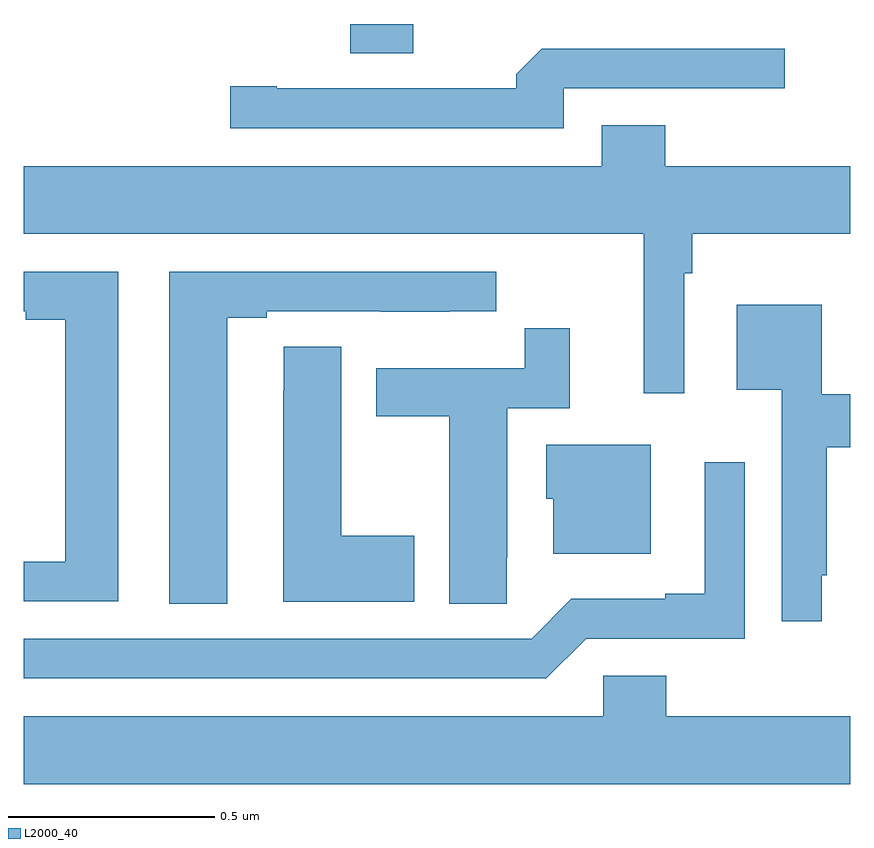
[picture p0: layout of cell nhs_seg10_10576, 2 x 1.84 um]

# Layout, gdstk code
import gdstk
lib = gdstk.Library(unit=1e-6, precision=1e-09)
def R(c, l, rs):  # rectangles x0, y0, x1, y1
    for r in rs: c.add(gdstk.rectangle(r[:2], r[2:], *l))
def P(c, l, *ps):  # polygons
    for p in ps: c.add(gdstk.Polygon(p, *l))
L2000_40 = (2000, 40)

nhs_seg10_10576 = lib.new_cell('nhs_seg10_10576')
R(nhs_seg10_10576, L2000_40, [(244.79,1291.429,244.942,1291.5)])
P(nhs_seg10_10576, L2000_40, [(245.307,1291.344),(245.842,1291.344),(245.842,1291.44),(245.253,1291.44),(245.192,1291.378),(245.192,1291.344),(244.612,1291.344),(244.612,1291.349),(244.5,1291.349),(244.5,1291.248),(245.307,1291.248)],
  [(245.598,1290.896),(245.618,1290.896),(245.618,1290.992),(246,1290.992),(246,1291.156),(245.552,1291.156),(245.552,1291.255),(245.399,1291.255),(245.399,1291.156),(244,1291.156),(244,1290.992),(245.501,1290.992),(245.501,1290.606),(245.598,1290.606)],
  [(244.492,1290.789),(244.588,1290.789),(244.588,1290.804),(244.864,1290.804),(244.864,1290.803),(245.03,1290.803),(245.03,1290.804),(245.143,1290.804),(245.143,1290.9),(244.352,1290.9),(244.352,1290.097),(244.492,1290.097)],
  [(244.228,1290.9),(244,1290.9),(244,1290.804),(244.004,1290.804),(244.004,1290.784),(244.1,1290.784),(244.1,1290.198),(244,1290.198),(244,1290.102),(244.228,1290.102)],
  [(245.932,1290.166),(245.944,1290.166),(245.944,1290.475),(246,1290.475),(246,1290.604),(245.932,1290.604),(245.932,1290.82),(245.726,1290.82),(245.726,1290.614),(245.835,1290.614),(245.835,1290.054),(245.932,1290.054)],
  [(245.169,1290.208),(245.17,1290.208),(245.17,1290.57),(245.321,1290.57),(245.321,1290.763),(245.212,1290.763),(245.212,1290.666),(244.853,1290.666),(244.853,1290.55),(245.03,1290.55),(245.03,1290.097),(245.169,1290.097)],
  [(244.945,1290.261),(244.768,1290.261),(244.768,1290.719),(244.629,1290.719),(244.629,1290.611),(244.628,1290.611),(244.628,1290.101),(244.945,1290.101)],
  [(245.518,1290.481),(245.264,1290.481),(245.264,1290.351),(245.282,1290.351),(245.282,1290.218),(245.518,1290.218)],
  [(245.361,1290.012),(245.745,1290.012),(245.745,1290.439),(245.648,1290.439),(245.648,1290.121),(245.552,1290.121),(245.552,1290.108),(245.325,1290.108),(245.229,1290.012),(244,1290.012),(244,1289.916),(245.265,1289.916)],
  [(246,1289.824),(245.555,1289.824),(245.555,1289.922),(245.403,1289.922),(245.403,1289.824),(244,1289.824),(244,1289.66),(246,1289.66)])

lib.write_gds('nhs_seg10_10576.gds')
